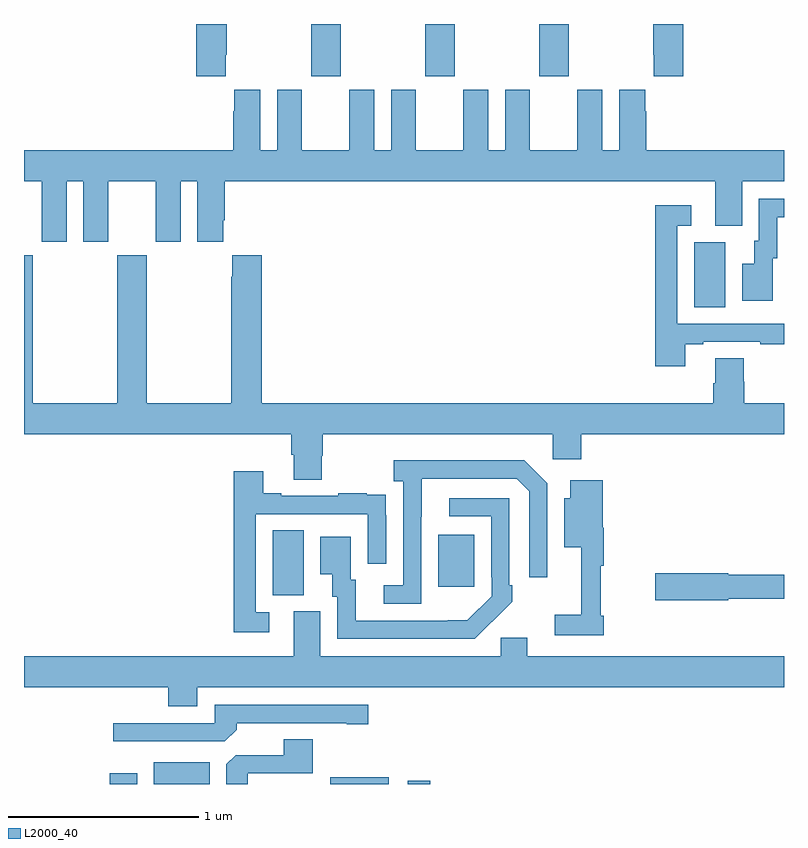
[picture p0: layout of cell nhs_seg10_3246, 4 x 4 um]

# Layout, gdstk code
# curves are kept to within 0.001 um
import gdstk
lib = gdstk.Library(unit=1e-6, precision=1e-09)
def R(c, l, rs):  # rectangles x0, y0, x1, y1
    for r in rs: c.add(gdstk.rectangle(r[:2], r[2:], *l))
def A(c, l, x, y, w, h, nx, ny, dx, dy):  # array of equal rectangles
    R(c, l, [(x+i*dx, y+j*dy, x+i*dx+w, y+j*dy+h) for i in range(nx) for j in range(ny)])
def P(c, l, *ps):  # polygons
    for p in ps: c.add(gdstk.Polygon(p, *l))
L2000_40 = (2000, 40)

nhs_seg10_3246 = lib.new_cell('nhs_seg10_3246')
A(nhs_seg10_3246, L2000_40, 288.511, 1278.225, 0.155, 0.275, 3, 1, 0.6, 0)
R(nhs_seg10_3246, L2000_40, [(287.45,1274.5,287.596,1274.557), (287.684,1274.5,287.977,1274.614), (288.612,1274.5,288.919,1274.536), (289.02,1274.5,289.138,1274.516), (288.308,1275.493,288.472,1275.836), (289.181,1275.537,289.369,1275.811), (290.528,1277.008,290.692,1277.352)])
P(nhs_seg10_3246, L2000_40, [(290.471,1278.5),(290.311,1278.5),(290.311,1278.337),(290.315,1278.337),(290.315,1278.225),(290.471,1278.225)],
  [(288.061,1278.337),(288.066,1278.337),(288.066,1278.5),(287.906,1278.5),(287.906,1278.225),(288.061,1278.225)],
  [(290.639,1277.437),(290.779,1277.437),(290.779,1277.672),(291,1277.672),(291,1277.836),(290.276,1277.836),(290.276,1278.041),(290.269,1278.041),(290.269,1278.154),(290.132,1278.154),(290.132,1277.836),(290.044,1277.836),(290.044,1278.154),(289.913,1278.154),(289.913,1277.836),(289.663,1277.836),(289.663,1278.154),(289.532,1278.154),(289.532,1277.836),(289.444,1277.836),(289.444,1278.154),(289.313,1278.154),(289.313,1277.836),(289.063,1277.836),(289.063,1278.154),(288.932,1278.154),(288.932,1277.836),(288.844,1277.836),(288.844,1278.154),(288.713,1278.154),(288.713,1277.836),(288.463,1277.836),(288.463,1278.154),(288.332,1278.154),(288.332,1277.836),(288.244,1277.836),(288.244,1278.154),(288.107,1278.154),(288.107,1278.041),(288.101,1278.041),(288.101,1277.836),(287,1277.836),(287,1277.672),(287.093,1277.672),(287.093,1277.355),(287.224,1277.355),(287.224,1277.672),(287.312,1277.672),(287.312,1277.355),(287.443,1277.355),(287.443,1277.672),(287.693,1277.672),(287.693,1277.355),(287.824,1277.355),(287.824,1277.672),(287.912,1277.672),(287.912,1277.355),(288.049,1277.355),(288.049,1277.467),(288.056,1277.467),(288.056,1277.672),(290.639,1277.672)],
  [(290.941,1277.268),(290.965,1277.268),(290.965,1277.484),(291,1277.484),(291,1277.58),(290.868,1277.58),(290.868,1277.358),(290.843,1277.358),(290.843,1277.239),(290.78,1277.239),(290.78,1277.043),(290.941,1277.043)],
  [(290.479,1276.815),(290.575,1276.815),(290.575,1276.827),(290.875,1276.827),(290.875,1276.815),(291,1276.815),(291,1276.923),(290.439,1276.923),(290.439,1277.439),(290.512,1277.439),(290.512,1277.545),(290.323,1277.545),(290.323,1276.698),(290.479,1276.698)],
  [(288.567,1276.227),(288.572,1276.227),(288.572,1276.34),(289.782,1276.34),(289.782,1276.209),(289.934,1276.209),(289.934,1276.34),(291,1276.34),(291,1276.504),(290.792,1276.504),(290.792,1276.617),(290.787,1276.617),(290.787,1276.742),(290.639,1276.742),(290.639,1276.61),(290.627,1276.61),(290.627,1276.504),(288.251,1276.504),(288.251,1277.284),(288.095,1277.284),(288.095,1277.171),(288.091,1277.171),(288.091,1276.504),(287.646,1276.504),(287.646,1277.284),(287.491,1277.284),(287.491,1276.504),(287.046,1276.504),(287.046,1277.284),(287,1277.284),(287,1276.34),(288.407,1276.34),(288.407,1276.234),(288.419,1276.234),(288.419,1276.102),(288.567,1276.102)],
  [(289.092,1275.907),(289.093,1276.107),(289.593,1276.107),(289.659,1276.041),(289.659,1275.588),(289.755,1275.588),(289.755,1276.083),(289.634,1276.204),(288.945,1276.204),(288.945,1276.094),(288.996,1276.094),(288.996,1275.546),(288.894,1275.546),(288.894,1275.45),(289.092,1275.45)],
  [(288.292,1275.405),(288.219,1275.405),(288.219,1275.921),(288.81,1275.921),(288.81,1275.66),(288.906,1275.66),(288.906,1275.914),(288.905,1275.914),(288.905,1276.023),(288.803,1276.023),(288.803,1276.03),(288.655,1276.03),(288.655,1276.017),(288.355,1276.017),(288.355,1276.03),(288.259,1276.03),(288.259,1276.147),(288.103,1276.147),(288.103,1275.3),(288.292,1275.3)],
  [(290.051,1275.385),(290.036,1275.385),(290.036,1275.65),(290.051,1275.65),(290.051,1275.85),(290.045,1275.85),(290.045,1276.099),(289.874,1276.099),(289.874,1276.003),(289.844,1276.003),(289.844,1275.746),(289.934,1275.746),(289.934,1275.391),(289.794,1275.391),(289.794,1275.282),(290.051,1275.282)],
  [(289.463,1275.355),(289.464,1275.354),(289.569,1275.459),(289.569,1275.547),(289.554,1275.547),(289.554,1276.005),(289.239,1276.005),(289.239,1275.909),(289.458,1275.909),(289.458,1275.589),(289.461,1275.589),(289.461,1275.489),(289.333,1275.361),(288.745,1275.36),(288.745,1275.576),(288.721,1275.576),(288.721,1275.802),(288.56,1275.802),(288.56,1275.605),(288.623,1275.605),(288.623,1275.486),(288.648,1275.486),(288.648,1275.264),(289.372,1275.264)],
  [(290.706,1275.474),(291,1275.474),(291,1275.602),(290.706,1275.602),(290.706,1275.608),(290.322,1275.608),(290.322,1275.466),(290.706,1275.466)],
  [(289.509,1275.27),(289.509,1275.172),(288.559,1275.172),(288.559,1275.408),(288.419,1275.408),(288.419,1275.172),(287,1275.172),(287,1275.008),(287.759,1275.008),(287.759,1274.909),(287.911,1274.909),(287.911,1275.008),(291,1275.008),(291,1275.172),(289.648,1275.172),(289.648,1275.27)],
  [(288.119,1274.786),(288.119,1274.82),(288.698,1274.82),(288.698,1274.815),(288.811,1274.815),(288.811,1274.916),(288.003,1274.916),(288.003,1274.82),(287.469,1274.82),(287.469,1274.724),(288.057,1274.724)],
  [(288.177,1274.556),(288.521,1274.556),(288.521,1274.735),(288.368,1274.735),(288.368,1274.652),(288.114,1274.652),(288.065,1274.603),(288.065,1274.5),(288.177,1274.5)])

lib.write_gds('nhs_seg10_3246.gds')
